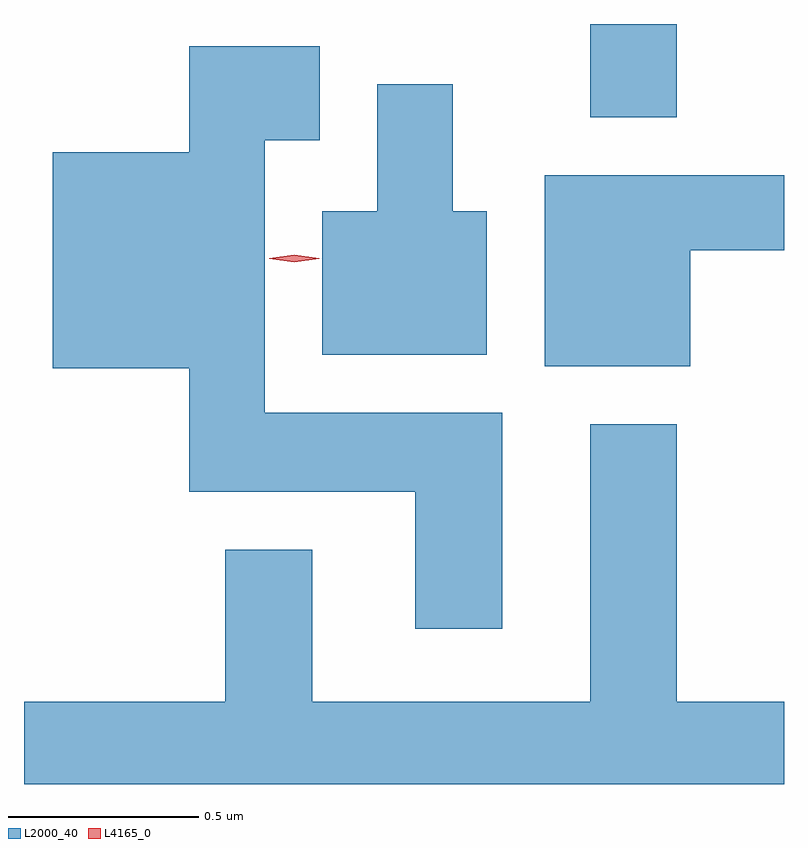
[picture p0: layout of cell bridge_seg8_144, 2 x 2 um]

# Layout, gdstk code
import gdstk
lib = gdstk.Library(unit=1e-6, precision=1e-09)
def R(c, l, rs):  # rectangles x0, y0, x1, y1
    for r in rs: c.add(gdstk.rectangle(r[:2], r[2:], *l))
def P(c, l, *ps):  # polygons
    for p in ps: c.add(gdstk.Polygon(p, *l))
L2000_40 = (2000, 40)
L4165_0 = (4165, 0)

bridge_seg8_144 = lib.new_cell('bridge_seg8_144')
R(bridge_seg8_144, L2000_40, [(1859.521,1862.641,1859.749,1862.887)])
P(bridge_seg8_144, L2000_40, [(1859.289,1861.864),(1858.664,1861.864),(1858.664,1862.581),(1858.809,1862.581),(1858.809,1862.829),(1858.466,1862.829),(1858.466,1862.549),(1858.106,1862.549),(1858.106,1861.981),(1858.466,1861.981),(1858.466,1861.656),(1859.061,1861.656),(1859.061,1861.296),(1859.289,1861.296)],
  [(1859.249,1862.394),(1859.159,1862.394),(1859.159,1862.729),(1858.961,1862.729),(1858.961,1862.394),(1858.816,1862.394),(1858.816,1862.016),(1859.249,1862.016)],
  [(1859.784,1862.291),(1860.031,1862.291),(1860.031,1862.489),(1859.401,1862.489),(1859.401,1861.986),(1859.784,1861.986)],
  [(1860.031,1861.104),(1859.749,1861.104),(1859.749,1861.834),(1859.521,1861.834),(1859.521,1861.104),(1858.789,1861.104),(1858.789,1861.504),(1858.561,1861.504),(1858.561,1861.104),(1858.031,1861.104),(1858.031,1860.887),(1860.031,1860.887)])
P(bridge_seg8_144, L4165_0, [(1858.742,1862.26),(1858.676,1862.269),(1858.676,1862.27),(1858.676,1862.27),(1858.742,1862.28),(1858.808,1862.27),(1858.808,1862.27),(1858.808,1862.269)])

lib.write_gds('bridge_seg8_144.gds')
